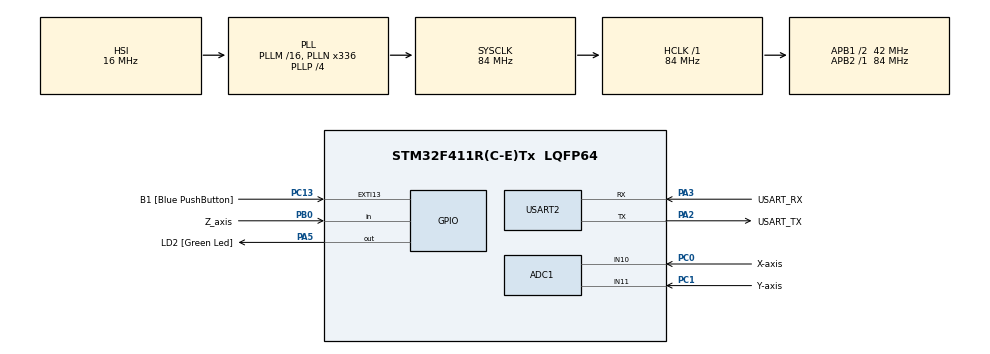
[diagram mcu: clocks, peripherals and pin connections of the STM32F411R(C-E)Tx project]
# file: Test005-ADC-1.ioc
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ADC1.Channel-0\#ChannelRegularConversion=ADC_CHANNEL_10
ADC1.Channel-3\#ChannelRegularConversion=ADC_CHANNEL_11
ADC1.ContinuousConvMode=DISABLE
ADC1.DiscontinuousConvMode=ENABLE
ADC1.NbrOfConversion=2
ADC1.NbrOfConversionFlag=1
ADC1.Rank-0\#ChannelRegularConversion=1
ADC1.Rank-3\#ChannelRegularConversion=2
ADC1.SamplingTime-0\#ChannelRegularConversion=ADC_SAMPLETIME_15CYCLES
ADC1.SamplingTime-3\#ChannelRegularConversion=ADC_SAMPLETIME_15CYCLES
ADC1.master=1
Mcu.Family=STM32F4
Mcu.Name=STM32F411R(C-E)Tx
Mcu.Package=LQFP64
NVIC.PriorityGroup=NVIC_PRIORITYGROUP_0
PA13.GPIO_Label=TMS
PA13.Mode=Serial_Wire
PA13.Signal=SYS_JTMS-SWDIO
PA14.GPIO_Label=TCK
PA14.Mode=Serial_Wire
PA14.Signal=SYS_JTCK-SWCLK
PA2.GPIO_Label=USART_TX
PA2.Mode=Asynchronous
PA2.Signal=USART2_TX
PA3.GPIO_Label=USART_RX
PA3.Mode=Asynchronous
PA3.Signal=USART2_RX
PA5.GPIO_Label=LD2 [Green Led]
PA5.Signal=GPIO_Output
PB0.GPIO_Label=Z_axis
PB0.GPIO_PuPd=GPIO_PULLUP
PB0.Signal=GPIO_Input
PB3.GPIO_Label=SWO
PB3.Signal=SYS_JTDO-SWO
PC0.GPIO_Label=X-axis
PC0.Signal=ADCx_IN10
PC1.GPIO_Label=Y-axis
PC1.Signal=ADCx_IN11
PC13-ANTI_TAMP.GPIO_Label=B1 [Blue PushButton]
PC13-ANTI_TAMP.GPIO_ModeDefaultEXTI=GPIO_MODE_IT_FALLING
PC13-ANTI_TAMP.Signal=GPXTI13
PC14-OSC32_IN.Mode=LSE-External-Oscillator
PC14-OSC32_IN.Signal=RCC_OSC32_IN
PC15-OSC32_OUT.Mode=LSE-External-Oscillator
PC15-OSC32_OUT.Signal=RCC_OSC32_OUT
PH0\ -\ OSC_IN.Mode=HSE-External-Clock-Source
PH0\ -\ OSC_IN.Signal=RCC_OSC_IN
PH1\ -\ OSC_OUT.Mode=HSE-External-Clock-Source
PH1\ -\ OSC_OUT.Signal=RCC_OSC_OUT
ProjectManager.HeapSize=0x200
ProjectManager.StackSize=0x400
ProjectManager.TargetToolchain=STM32CubeIDE
RCC.48MHZClocksFreq_Value=84000000
RCC.AHBFreq_Value=84000000
RCC.APB1CLKDivider=RCC_HCLK_DIV2
RCC.APB1Freq_Value=42000000
RCC.APB1TimFreq_Value=84000000
RCC.APB2Freq_Value=84000000
RCC.APB2TimFreq_Value=84000000
RCC.CortexFreq_Value=84000000
RCC.FLatency-AdvancedSettings=FLASH_LATENCY_2
RCC.HCLKFreq_Value=84000000
RCC.HSE_VALUE=8000000
RCC.HSI_VALUE=16000000
RCC.PLLN=336
RCC.PLLP=RCC_PLLP_DIV4
RCC.SYSCLKFreq_VALUE=84000000
RCC.SYSCLKSource=RCC_SYSCLKSOURCE_PLLCLK
RCC.VCOOutputFreq_Value=336000000
SH.ADCx_IN10.0=ADC1_IN10,IN10
SH.ADCx_IN11.0=ADC1_IN11,IN11
USART2.VirtualMode=VM_ASYNC
board=NUCLEO-F411RE

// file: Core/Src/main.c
/* USER CODE BEGIN Header */
/**
  ******************************************************************************
  * @file           : main.c
  * @brief          : Main program body
  ******************************************************************************
  * @attention
  *
  * Copyright (c) 2024 STMicroelectronics.
  * All rights reserved.
  *
  * This software is licensed under terms that can be found in the LICENSE file
  * in the root directory of this software component.
  * If no LICENSE file comes with this software, it is provided AS-IS.
  *
  ******************************************************************************
  */
/* USER CODE END Header */
#include "main.h"

ADC_HandleTypeDef hadc1;

UART_HandleTypeDef huart2;

void SystemClock_Config(void);
static void MX_GPIO_Init(void);
static void MX_USART2_UART_Init(void);
static void MX_ADC1_Init(void);

int main(void)
{

  /* MCU Configuration--------------------------------------------------------*/

  /* Reset of all peripherals, Initializes the Flash interface and the Systick. */
  HAL_Init();

  /* Configure the system clock */
  SystemClock_Config();

  /* Initialize all configured peripherals */
  MX_GPIO_Init();
  MX_USART2_UART_Init();
  MX_ADC1_Init();
  /* USER CODE BEGIN 2 */
  ProgramStart("ADC Polling");
  // 전역 변수 선언
  int sx=80, sy=24;  //screen size
  int cx = 0, cy = 0;  // 조이스틱의 현재 위치
  int ball_x = 40, ball_y = 10;  // 공의 현재 위치
  int ball_dx = 1, ball_dy = -1;  // 공의 이동 방향
  int width = 80, height = 24;  // 콘솔 창 크기

// 공 튀기기 게임

  void draw_screen() {
      // 화면을 지우고 새로 그리기
      printf("\033[2J");  // 화면 지우기

      // 스틱 그리기
      printf("\033[%d;%dH>______<", cy, cx);

      // 공 그리기
      printf("\033[%d;%dHO\n", ball_y, ball_x);

  }

  void update_ball() {
      // 공의 위치 업데이트
      ball_x += ball_dx;
      ball_y += ball_dy;

      // 벽에 부딪히면 방향 변경
      if (ball_x <= 0 || ball_x >= width) {
          ball_dx = -ball_dx;
      }
      if (ball_y <= 0 || ball_y >= height) {
          ball_dy = -ball_dy;
      }

      // 스틱에 부딪히면 방향 변경
      if (ball_y == cy && ball_x >= cx && ball_x <= cx + 4) {
          ball_dy = -ball_dy;
      }

  }

  void game_loop() {
      while (1) {
          // ADC 값 읽기
          HAL_ADC_Start(&hadc1);
          HAL_ADC_PollForConversion(&hadc1, 1000);  // 변환 완료 대기 (타임아웃 1000ms)
          int v = HAL_ADC_GetValue(&hadc1);
          int x = (sx * v) / 4096;

          HAL_ADC_Start(&hadc1);
          HAL_ADC_PollForConversion(&hadc1, 1000);  // 변환 완료 대기 (타임아웃 1000ms)
          v = HAL_ADC_GetValue(&hadc1);
          int y = (sy * v) / 4096;

          int z = HAL_GPIO_ReadPin(Z_axis_GPIO_Port, Z_axis_Pin);  // Z축 값 읽기

          // 스틱 위치 업데이트
          cx = x;
          cy = y;

          // 공 위치 업데이트
          update_ball();

          // 화면 업데이트
          draw_screen();

          // 지연
          HAL_Delay(100);
      }
  }
// ProgramStart("ADC Polling");
//  printf("\033[2J\033[?25l\n");

  /* USER CODE END 2 */

  /* Infinite loop */
  /* USER CODE BEGIN WHILE */
//  int sx=80, sy=24;  //screen size
//  int cx=39, cy=24;  //initial position
  while (1)
  {
    /* USER CODE END WHILE */

    /* USER CODE BEGIN 3 */

	game_loop();
	// method 1
//	HAL_ADC_Start(&hadc1);
//	HAL_ADC_PollForConversion(&hadc1, 1000);  //start trigger
//	int x=HAL_ADC_GetValue(&hadc1);
//	//HAL_ADC_Stop(&hadc1);  //stop (not necessary)
//	HAL_ADC_Start(&hadc1);
//	HAL_ADC_PollForConversion(&hadc1, 1000);  //start trigger
//	int y=HAL_ADC_GetValue(&hadc1);
//	int z=HAL_GPIO_ReadPin(Z_axis_GPIO_Port, Z_axis_Pin);
//	//printf("ADC Value: [%d, %d, %d]\r\n", x, y, z);
//	printf("\033[?25l");
//	printf("\033[2J\033[0;1HADC Value: [%d, %d, %d]\n", x, y, z);
//	printf("\033[%d;%dH @\r\n", y*24/4000, x*80/4000);
//	HAL_Delay(50);

	//method 2
//	HAL_ADC_Start(&hadc1);
//	HAL_ADC_PollForConversion(&hadc1, 1000);  //start trigger
//	int v=HAL_ADC_GetValue(&hadc1);
//	int x=(sx*v)/4096;
//	HAL_ADC_Start(&hadc1);
//	HAL_ADC_PollForConversion(&hadc1, 1000);  //start trigger
//	v=HAL_ADC_GetValue(&hadc1);
//	int y=(sy*v)/4096;
//	int z=HAL_GPIO_ReadPin(Z_axis_GPIO_Port, Z_axis_Pin);
//	printf("\033[0;0HADC Value: [%d, %d, %d]\r\n", y, x, z);
//	printf("\033[2J\033[%d;%dH \033[%d;%dH______\033[A\n", cy, cx, y, x);
//	cx=x, cy=y;
//	HAL_Delay(100);

	// make game
//	HAL_ADC_Start(&hadc1);
//	HAL_ADC_PollForConversion(&hadc1, 1000);  //start trigger
//	int v=HAL_ADC_GetValue(&hadc1);
//	int x=(sx*v)/4096;
//	HAL_ADC_Start(&hadc1);
//	HAL_ADC_PollForConversion(&hadc1, 1000);  //start trigger
//	v=HAL_ADC_GetValue(&hadc1);
//	int y=(sy*v)/4096;
//	int z=HAL_GPIO_ReadPin(Z_axis_GPIO_Port, Z_axis_Pin);
//	printf("\033[0;0HADC Value: [%d, %d, %d]\r\n", y, x, z);
//	printf("\033[2J\033[%d;%dH \033[%d;%dH>______<\033[A\n", cy, cx, y, x);
//	cx=x, cy=y;
//	HAL_Delay(100);

  }
  /* USER CODE END 3 */
}

void SystemClock_Config(void)
{
  RCC_OscInitTypeDef RCC_OscInitStruct = {0};
  RCC_ClkInitTypeDef RCC_ClkInitStruct = {0};

  /** Configure the main internal regulator output voltage
  */
  __HAL_RCC_PWR_CLK_ENABLE();
  __HAL_PWR_VOLTAGESCALING_CONFIG(PWR_REGULATOR_VOLTAGE_SCALE1);

  /** Initializes the RCC Oscillators according to the specified parameters
  * in the RCC_OscInitTypeDef structure.
  */
  RCC_OscInitStruct.OscillatorType = RCC_OSCILLATORTYPE_HSI;
  RCC_OscInitStruct.HSIState = RCC_HSI_ON;
  RCC_OscInitStruct.HSICalibrationValue = RCC_HSICALIBRATION_DEFAULT;
  RCC_OscInitStruct.PLL.PLLState = RCC_PLL_ON;
  RCC_OscInitStruct.PLL.PLLSource = RCC_PLLSOURCE_HSI;
  RCC_OscInitStruct.PLL.PLLM = 16;
  RCC_OscInitStruct.PLL.PLLN = 336;
  RCC_OscInitStruct.PLL.PLLP = RCC_PLLP_DIV4;
  RCC_OscInitStruct.PLL.PLLQ = 4;
  if (HAL_RCC_OscConfig(&RCC_OscInitStruct) != HAL_OK)
  {
    Error_Handler();
  }

  /** Initializes the CPU, AHB and APB buses clocks
  */
  RCC_ClkInitStruct.ClockType = RCC_CLOCKTYPE_HCLK|RCC_CLOCKTYPE_SYSCLK
                              |RCC_CLOCKTYPE_PCLK1|RCC_CLOCKTYPE_PCLK2;
  RCC_ClkInitStruct.SYSCLKSource = RCC_SYSCLKSOURCE_PLLCLK;
  RCC_ClkInitStruct.AHBCLKDivider = RCC_SYSCLK_DIV1;
  RCC_ClkInitStruct.APB1CLKDivider = RCC_HCLK_DIV2;
  RCC_ClkInitStruct.APB2CLKDivider = RCC_HCLK_DIV1;

  if (HAL_RCC_ClockConfig(&RCC_ClkInitStruct, FLASH_LATENCY_2) != HAL_OK)
  {
    Error_Handler();
  }
}

static void MX_ADC1_Init(void)
{

  ADC_ChannelConfTypeDef sConfig = {0};

  /** Configure the global features of the ADC (Clock, Resolution, Data Alignment and number of conversion)
  */
  hadc1.Instance = ADC1;
  hadc1.Init.ClockPrescaler = ADC_CLOCK_SYNC_PCLK_DIV4;
  hadc1.Init.Resolution = ADC_RESOLUTION_12B;
  hadc1.Init.ScanConvMode = ENABLE;
  hadc1.Init.ContinuousConvMode = DISABLE;
  hadc1.Init.DiscontinuousConvMode = ENABLE;
  hadc1.Init.NbrOfDiscConversion = 1;
  hadc1.Init.ExternalTrigConvEdge = ADC_EXTERNALTRIGCONVEDGE_NONE;
  hadc1.Init.ExternalTrigConv = ADC_SOFTWARE_START;
  hadc1.Init.DataAlign = ADC_DATAALIGN_RIGHT;
  hadc1.Init.NbrOfConversion = 2;
  hadc1.Init.DMAContinuousRequests = DISABLE;
  hadc1.Init.EOCSelection = ADC_EOC_SINGLE_CONV;
  if (HAL_ADC_Init(&hadc1) != HAL_OK)
  {
    Error_Handler();
  }

  /** Configure for the selected ADC regular channel its corresponding rank in the sequencer and its sample time.
  */
  sConfig.Channel = ADC_CHANNEL_10;
  sConfig.Rank = 1;
  sConfig.SamplingTime = ADC_SAMPLETIME_15CYCLES;
  if (HAL_ADC_ConfigChannel(&hadc1, &sConfig) != HAL_OK)
  {
    Error_Handler();
  }

  /** Configure for the selected ADC regular channel its corresponding rank in the sequencer and its sample time.
  */
  sConfig.Channel = ADC_CHANNEL_11;
  sConfig.Rank = 2;
  if (HAL_ADC_ConfigChannel(&hadc1, &sConfig) != HAL_OK)
  {
    Error_Handler();
  }

}

static void MX_USART2_UART_Init(void)
{

  huart2.Instance = USART2;
  huart2.Init.BaudRate = 115200;
  huart2.Init.WordLength = UART_WORDLENGTH_8B;
  huart2.Init.StopBits = UART_STOPBITS_1;
  huart2.Init.Parity = UART_PARITY_NONE;
  huart2.Init.Mode = UART_MODE_TX_RX;
  huart2.Init.HwFlowCtl = UART_HWCONTROL_NONE;
  huart2.Init.OverSampling = UART_OVERSAMPLING_16;
  if (HAL_UART_Init(&huart2) != HAL_OK)
  {
    Error_Handler();
  }

}

static void MX_GPIO_Init(void)
{
  GPIO_InitTypeDef GPIO_InitStruct = {0};

  /* GPIO Ports Clock Enable */
  __HAL_RCC_GPIOC_CLK_ENABLE();
  __HAL_RCC_GPIOH_CLK_ENABLE();
  __HAL_RCC_GPIOA_CLK_ENABLE();
  __HAL_RCC_GPIOB_CLK_ENABLE();

  /*Configure GPIO pin Output Level */
  HAL_GPIO_WritePin(LD2_GPIO_Port, LD2_Pin, GPIO_PIN_RESET);

  /*Configure GPIO pin : B1_Pin */
  GPIO_InitStruct.Pin = B1_Pin;
  GPIO_InitStruct.Mode = GPIO_MODE_IT_FALLING;
  GPIO_InitStruct.Pull = GPIO_NOPULL;
  HAL_GPIO_Init(B1_GPIO_Port, &GPIO_InitStruct);

  /*Configure GPIO pin : LD2_Pin */
  GPIO_InitStruct.Pin = LD2_Pin;
  GPIO_InitStruct.Mode = GPIO_MODE_OUTPUT_PP;
  GPIO_InitStruct.Pull = GPIO_NOPULL;
  GPIO_InitStruct.Speed = GPIO_SPEED_FREQ_LOW;
  HAL_GPIO_Init(LD2_GPIO_Port, &GPIO_InitStruct);

  /*Configure GPIO pin : Z_axis_Pin */
  GPIO_InitStruct.Pin = Z_axis_Pin;
  GPIO_InitStruct.Mode = GPIO_MODE_INPUT;
  GPIO_InitStruct.Pull = GPIO_PULLUP;
  HAL_GPIO_Init(Z_axis_GPIO_Port, &GPIO_InitStruct);

}

void Error_Handler(void)
{
  __disable_irq();
  while (1)
  {
  }
}
